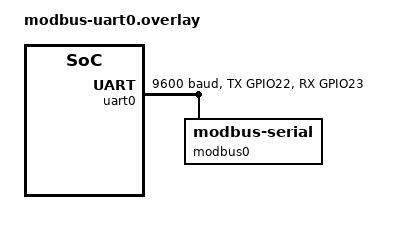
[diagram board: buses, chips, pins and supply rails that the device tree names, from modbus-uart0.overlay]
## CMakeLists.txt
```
# SPDX-License-Identifier: Apache-2.0

cmake_minimum_required(VERSION 3.20.0)

find_package(Zephyr REQUIRED HINTS $ENV{ZEPHYR_BASE})
project(wifi-tls)

# Sparkplug B protobuf, generated by nanopb into the build directory (proto/sparkplug_b.pb.h).
list(APPEND CMAKE_MODULE_PATH ${ZEPHYR_BASE}/modules/nanopb)
include(nanopb)
zephyr_nanopb_sources(app proto/sparkplug_b.proto)

target_sources(app PRIVATE
	src/main.c
	src/modbus_reader.c
	src/mqtt_transport.c
	src/sparkplug_node.c
	src/sparkplug_payload.c
)
target_sources_ifdef(CONFIG_APP_PPK_MARKERS app PRIVATE src/ppk_markers.c)
target_sources_ifdef(CONFIG_NETWORK_CELLULAR app PRIVATE src/network_modem.c)
target_sources_ifndef(CONFIG_NETWORK_CELLULAR app PRIVATE src/network_wifi.c)
```

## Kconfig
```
# Copyright 2025 NXP
# SPDX-License-Identifier: Apache-2.0

mainmenu "Wi-Fi MQTT TLS application"

config WIFI_SAMPLE_SSID
	string "SSID of the target AP"
	default "CHANGE_ME_WIFI_SSID"
	help
	  SSID of the access point to connect to in station mode.
	  For example: "TARGET-AP"

config WIFI_SAMPLE_PSK
	string "Pre-shared key for target AP"
	default "CHANGE_ME_WIFI_PSK"
	help
	  WPA2 password used to connect to the target AP.
	  For example: "PSK"

config WIFI_SAMPLE_DHCPV4_START
	bool "Start DHCPv4 server in application layer."
	default y
	help
	  Enable this option to start the DHCPv4 server from the application layer,
	  typically before the Soft AP is initialized.

	  When disabled, the DHCPv4 server startup timing is determined by the vendor's
	  implementation. In some cases, the server may be started after the AP is up,
	  using the vendor's default IP address, gateway, subnet mask.

config MQTT_BROKER_ADDRESS
	string "MQTT broker IPv4 address"
	default "CHANGE_ME_BROKER_IP"
	help
	  IPv4 address of the local Mosquitto broker.

config MQTT_CLIENT_ID
	string "MQTT client ID"
	default "esp32c6-wifi-tls"

config MQTT_TOPIC
	string "MQTT test topic"
	default "iot/test"

config MQTT_SNTP_SERVER
	string "SNTP server name or IPv4 address"
	default "pool.ntp.org"
	help
	  Server asked for the time before TLS. A name needs a DNS server; an IPv4 address does not.

config NETWORK_CELLULAR
	bool "Use the Stamp CatM modem (PPP) instead of Wi-Fi"
	default n
	help
	  Selects the modem network layer (src/network_modem.c) in CMakeLists.txt instead of Wi-Fi (src/network_wifi.c). Wi-Fi remains the default.

config NETWORK_IPV4_TIMEOUT_SECONDS
	int "Seconds to wait for an IPv4 address"
	default 30

config APP_BATCH_SIZE
	int "Number of Modbus samples per MQTT message"
	default 5
	range 1 30
	help
	  Number of samples collected before sending one NDATA message as a batch.
	  1 sends one message per sample (still using array format). Higher values
	  reduce transmissions but delay delivery of older samples.

source "Kconfig.zephyr"
```

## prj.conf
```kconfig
# Flash size of the ESP32-C6FH4
CONFIG_ESPTOOLPY_FLASHSIZE_4MB=y

# Network Configuration
CONFIG_NET_CONFIG_AUTO_INIT=n
CONFIG_NET_CONNECTION_MANAGER=y
CONFIG_NET_DHCPV4=y
CONFIG_NET_DHCPV4_SERVER=n
CONFIG_DNS_RESOLVER=y
CONFIG_NET_IF_MAX_IPV4_COUNT=2
CONFIG_NET_IF_MAX_IPV6_COUNT=2
CONFIG_NET_IPV4=y
CONFIG_NET_L2_ETHERNET=y
CONFIG_NET_MGMT=y
CONFIG_NET_MGMT_EVENT=y
CONFIG_NET_MGMT_EVENT_INFO=y
CONFIG_NET_MGMT_EVENT_QUEUE_SIZE=10
CONFIG_NET_MGMT_EVENT_STACK_SIZE=4096
CONFIG_NET_PKT_RX_COUNT=16
CONFIG_NET_PKT_TX_COUNT=16
CONFIG_NET_TCP=y
CONFIG_NET_UDP=y
CONFIG_NETWORKING=y

# Modbus RTU client on UART0; the Arduino slave uses 9600 8N1.
CONFIG_SERIAL=y
CONFIG_UART_INTERRUPT_DRIVEN=y
CONFIG_MODBUS=y
CONFIG_MODBUS_ROLE_CLIENT=y
CONFIG_MODBUS_NONCOMPLIANT_SERIAL_MODE=y

# MQTT over TLS
CONFIG_MQTT_LIB=y
CONFIG_MQTT_CLEAN_SESSION=y
CONFIG_MQTT_LIB_TLS=y
CONFIG_NET_SOCKETS_SOCKOPT_TLS=y
CONFIG_POSIX_API=y

# Certificate validity requires a synchronized realtime clock.
CONFIG_SNTP=y

# Mbed TLS certificate parsing and heap
CONFIG_MBEDTLS=y
CONFIG_MBEDTLS_ENABLE_HEAP=y
CONFIG_MBEDTLS_HEAP_SIZE=60000
CONFIG_MBEDTLS_SSL_MAX_CONTENT_LEN=16384
CONFIG_MBEDTLS_X509_CRT_PARSE_C=y
CONFIG_MBEDTLS_PEM_PARSE_C=y
CONFIG_MBEDTLS_BASE64_C=y
CONFIG_MBEDTLS_CIPHERSUITE_TLS_ECDHE_RSA_WITH_AES_128_GCM_SHA256=y
CONFIG_MBEDTLS_CIPHERSUITE_TLS1_3_AES_128_GCM_SHA256=y
CONFIG_MBEDTLS_SSL_TLS1_3_KEY_EXCHANGE_MODE_EPHEMERAL_ENABLED=y
CONFIG_MBEDTLS_X509_RSASSA_PSS_SUPPORT=y
CONFIG_PSA_WANT_ALG_RSA_OAEP=y
CONFIG_PSA_WANT_KEY_TYPE_RSA_PUBLIC_KEY=y

# Application logging
CONFIG_LOG=y
CONFIG_MAIN_STACK_SIZE=8192

# LOG Configuration
CONFIG_NET_LOG=y

# Compile out debug logging: no module logs below info
CONFIG_LOG_MAX_LEVEL=3
```

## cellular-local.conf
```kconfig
# Broker values for the modem build. Copied from wifi-local.conf without SSID or PSK.
CONFIG_MQTT_BROKER_ADDRESS="92.113.144.124"
CONFIG_MQTT_CLIENT_ID="esp32c6-node01"
```

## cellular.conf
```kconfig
# Modem build: PPP over the Stamp CatM instead of Wi-Fi.
# Passed to west build by run-build.sh via -DEXTRA_CONF_FILE together with cellular-local.conf.
CONFIG_NETWORK_CELLULAR=y
# PPP took about 17 s to assign an IP in cellular-ppp; registration can take longer.
CONFIG_NETWORK_IPV4_TIMEOUT_SECONDS=180

# PPP and the modem driver, as tested in cellular-ppp.
CONFIG_NET_NATIVE=y
CONFIG_NET_L2_PPP=y
# Use the DNS server the mobile network offers during PPP, so pool.ntp.org can be resolved for SNTP.
CONFIG_NET_L2_PPP_OPTION_DNS_USE=y
# Name lookups over PPP took 0.5 to 0.7 s or 3.6 to 5.3 s; the default 2 s timeout failed some of them.
CONFIG_NET_SOCKETS_DNS_TIMEOUT=10000

# Check the certificate's validity dates against the clock set by SNTP (test; see README).
CONFIG_MBEDTLS_HAVE_TIME_DATE=y
CONFIG_MODEM=y
CONFIG_PM_DEVICE=y
CONFIG_MODEM_CELLULAR=y
CONFIG_MODEM_CELLULAR_APN="onomondo"
# Larger CMUX work buffers, which also size the DLCI 1 (PPP) receive buffer. The default
# (MTU 127 + 7) overran during TLS and MQTT bursts. 512 is a test value, not a measured optimum.
CONFIG_MODEM_CMUX_WORK_BUFFER_SIZE_EXTRA=512

CONFIG_MODEM_MODULES_LOG_LEVEL_DBG=y
```

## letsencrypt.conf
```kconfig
# Let's Encrypt experiment: TLS SNI and certificate hostname for the broker.
# Remove this file from the build scripts to return to the Webdock IP-SAN route.
CONFIG_MQTT_TLS_HOSTNAME="Gruppe4"
CONFIG_MQTT_BROKER_ADDRESS="10.56.16.80"
```

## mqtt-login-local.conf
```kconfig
# MQTT login for the Webdock broker. Used by both the Wi-Fi and the modem build (see run-build.sh).
# Test project: the credential is whitelisted (industrial-iot-webdock-mqtt-login) and the repository is private.
CONFIG_MQTT_USERNAME="zephyr-project"
CONFIG_MQTT_PASSWORD="rootpass"
```

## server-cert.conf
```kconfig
# Server certificate configuration for the old local MQTT broker route.
# Keep the IP-SAN aligned with CONFIG_MQTT_BROKER_ADDRESS in wifi-local.conf.
# The Let's Encrypt experiment uses letsencrypt.conf and a DNS name instead.

[req]
distinguished_name = req_distinguished_name
req_extensions = req_ext
prompt = no

[req_distinguished_name]
CN = 192.168.87.119

[req_ext]
subjectAltName = @alt_names
basicConstraints = critical,CA:FALSE
keyUsage = critical,digitalSignature,keyEncipherment
extendedKeyUsage = serverAuth

[alt_names]
IP.1 = 192.168.87.119
```

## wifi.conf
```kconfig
# Wi-Fi station build. Passed to west build by run-build.sh via -DEXTRA_CONF_FILE.
CONFIG_WIFI=y
CONFIG_WIFI_NM=y
CONFIG_WIFI_USAGE_MODE_STA_AP=n
CONFIG_ESP32_WIFI_STA_RECONNECT=y
CONFIG_WIFI_USAGE_MODE_STA=y
CONFIG_WIFI_USAGE_MODE_AP=n
CONFIG_NET_L2_WIFI_MGMT=y

# Network layer: Wi-Fi is the default choice in Kconfig.
CONFIG_NETWORK_CELLULAR=n
CONFIG_NETWORK_IPV4_TIMEOUT_SECONDS=30
```

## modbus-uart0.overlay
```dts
#include <zephyr/dt-bindings/pinctrl/esp-pinctrl-common.h>
#include <zephyr/dt-bindings/pinctrl/esp32c6-pinctrl.h>

/* Modbus UART0 uses GPIO22/23 with HW-519 auto-direction */
&pinctrl {
	uart0_modbus: uart0_modbus {
		group1 {
			pinmux = <UART0_TX_GPIO22>;
			output-high;
		};

		group2 {
			pinmux = <UART0_RX_GPIO23>;
			bias-pull-up;
		};
	};
};

&uart0 {
	status = "okay";
	current-speed = <9600>;
	pinctrl-0 = <&uart0_modbus>;
	pinctrl-names = "default";

	modbus0 {
		compatible = "zephyr,modbus-serial";
		status = "okay";
	};
};
```

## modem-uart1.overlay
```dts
#include <zephyr/dt-bindings/gpio/gpio.h>
#include <zephyr/dt-bindings/pinctrl/esp-pinctrl-common.h>
#include <zephyr/dt-bindings/pinctrl/esp32c6-pinctrl.h>

/ {
	aliases {
		modem = &modem;
	};
};

/*
 * Copied from cellular-ppp/app.overlay, which is the tested reference.
 * Keep the two in sync when either changes.
 *
 * GPIO16/17 (uart0) share nets with the CP2102N bridge on the DevKitC-1 and the
 * modem stays silent there, so it sits on uart1 with GPIO18 TX and GPIO19 RX.
 */
&pinctrl {
	uart1_modem: uart1_modem {
		group1 {
			pinmux = <UART1_TX_GPIO18>;
			output-high;
		};

		group2 {
			pinmux = <UART1_RX_GPIO19>;
			bias-pull-up;
		};
	};
};

/* Stamp CatM on uart1, wired crosswise: Stamp TX to GPIO19, Stamp RX to GPIO18. */
&uart1 {
	status = "okay";
	current-speed = <115200>;
	pinctrl-0 = <&uart1_modem>;
	pinctrl-names = "default";

	modem: modem {
		compatible = "simcom,sim7080";
		status = "okay";
		/*
		 * PWRKEY is not exposed on the Stamp CatM header, so this pin is
		 * deliberately left unconnected. The binding requires a property.
		 */
		mdm-power-gpios = <&gpio0 10 GPIO_ACTIVE_HIGH>;
	};
};
```

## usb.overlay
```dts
/ {
    chosen {
        zephyr,console = &usb_serial;
        zephyr,shell-uart = &usb_serial;
    };
};

&usb_serial {
    status = "okay";
    current-speed = <115200>;
};
```

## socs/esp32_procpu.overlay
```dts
/ {
	wifi_ap: wifi_ap {
		compatible = "espressif,esp32-wifi";
		status = "okay";
	};

    chosen {
        zephyr,console = &usb_serial;
        zephyr,shell-uart = &usb_serial;
    };
};
```

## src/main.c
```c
/*
 * SPDX-License-Identifier: Apache-2.0
 */

#include "modbus_reader.h"
#include "mqtt_transport.h"
#include "network.h"

#include <zephyr/kernel.h>
#include <zephyr/logging/log.h>
#include <zephyr/net/dns_resolve.h>
#include <zephyr/net/net_ip.h>
#include <zephyr/net/sntp.h>
#include <zephyr/sys/clock.h>

#include <errno.h>
#include <time.h>

LOG_MODULE_REGISTER(MAIN);

#define MQTT_SNTP_SERVER CONFIG_MQTT_SNTP_SERVER
/* Modbus is read at the sample interval; the buffered samples are published together at the batch interval. */
#define MODBUS_SAMPLE_INTERVAL_MILLISECONDS 5000
/* Set equal to the sample interval to publish every sample at once, as before batching. */
#define BATCH_PUBLISH_INTERVAL_MILLISECONDS 30000
#define BATCH_SAMPLE_CAPACITY (BATCH_PUBLISH_INTERVAL_MILLISECONDS / MODBUS_SAMPLE_INTERVAL_MILLISECONDS)
#define MODBUS_PAYLOAD_BUFFER_SIZE 256

BUILD_ASSERT(BATCH_PUBLISH_INTERVAL_MILLISECONDS % MODBUS_SAMPLE_INTERVAL_MILLISECONDS == 0 && BATCH_SAMPLE_CAPACITY >= 1,
	     "The batch interval must be a whole multiple of the sample interval");

#define SPB_GROUP_ID "GR4"
#define SPB_EDGE_NODE_ID CONFIG_MQTT_CLIENT_ID
#define SPB_TOPIC_NBIRTH "spBv1.0/" SPB_GROUP_ID "/NBIRTH/" SPB_EDGE_NODE_ID
#define SPB_TOPIC_NDATA "spBv1.0/" SPB_GROUP_ID "/NDATA/" SPB_EDGE_NODE_ID
#define SPB_TOPIC_NDEATH "spBv1.0/" SPB_GROUP_ID "/NDEATH/" SPB_EDGE_NODE_ID

/* False after a failed pre-TLS network check, so no TLS or MQTT is attempted on that link. */
static bool mqtt_allowed = true;
/* True once SNTP has set the clock; certificate dates are checked against it. */
static bool clock_synchronized = false;

/* Sparkplug B state counters */
static int64_t spb_bdseq = -1;
static uint8_t spb_seq = 0;

/* One Modbus reading with the time it was taken, held until the next batch publish. */
struct modbus_sample {
	uint64_t timestamp_ms;
	uint16_t adc_millivolts;
	uint16_t uptime_seconds;
};

/* Samples collected since the last batch publish; only filled while MQTT is connected. */
static struct modbus_sample sample_batch[BATCH_SAMPLE_CAPACITY];
static size_t sample_batch_count = 0;

static uint64_t get_posix_timestamp_ms(void)
{
	struct timespec clock_spec;

	if (sys_clock_gettime(SYS_CLOCK_REALTIME, &clock_spec) == 0)
	{
		return ((uint64_t)clock_spec.tv_sec * 1000ULL) + ((uint64_t)clock_spec.tv_nsec / 1000000ULL);
	}

	return (uint64_t)k_uptime_get();
}

/* Log the IPv4 DNS servers the resolver holds, so a missing or wrong server is visible. */
static void log_dns_servers(void)
{
	struct dns_resolve_context *dns = dns_resolve_get_default();
	char address_text[NET_IPV4_ADDR_LEN];
	int server_count = 0;

	for (int i = 0; i < DNS_RESOLVER_MAX_POLL; i++)
	{
		const struct net_sockaddr *server = &dns->servers[i].dns_server;

		if (server->sa_family != NET_AF_INET)
		{
			continue;
		}

		net_addr_ntop(NET_AF_INET, &net_sin(server)->sin_addr, address_text, sizeof(address_text));
		LOG_INF("DNS server %d: %s", i, address_text);
		server_count++;
	}

	if (server_count == 0)
	{
		LOG_WRN("No IPv4 DNS server configured");
	}
}

static int synchronize_clock(void)
{
	struct sntp_time sntp_time;
	struct timespec realtime_spec;
	int return_code;

	int64_t started_ms = k_uptime_get();

	return_code = sntp_simple(MQTT_SNTP_SERVER, 5000, &sntp_time);
	LOG_INF("SNTP name lookup and query took %d ms", (int)(k_uptime_get() - started_ms));
	if (return_code < 0)
	{
		LOG_ERR("SNTP query failed: %d", return_code);
		log_dns_servers();
		return return_code;
	}

	realtime_spec.tv_sec = (time_t)sntp_time.seconds;
	realtime_spec.tv_nsec = ((uint64_t)sntp_time.fraction * NSEC_PER_SEC) >> 32;
	return_code = sys_clock_settime(SYS_CLOCK_REALTIME, &realtime_spec);
	if (return_code < 0)
	{
		LOG_ERR("Setting realtime clock failed: %d", return_code);
		return return_code;
	}

	LOG_INF("Realtime clock synchronized before TLS");
	clock_synchronized = true;
	return 0;
}

static int publish_spb_birth(void)
{
	char payload_json[MODBUS_PAYLOAD_BUFFER_SIZE];
	uint64_t now_ms = get_posix_timestamp_ms();
	int return_code;

	/* Reset seq to 0 on NBIRTH as per Sparkplug B standard */
	spb_seq = 0;

	return_code = snprintk(payload_json, sizeof(payload_json),
		       "{\"timestamp\":%llu,\"device_id\":\"%s\",\"seq\":0,\"bdSeq\":%llu,\"metrics\":["
		       "{\"name\":\"bdSeq\",\"value\":%llu},"
		       "{\"name\":\"node_state\",\"value\":\"ONLINE\"}]}",
		       (unsigned long long)now_ms,
		       SPB_EDGE_NODE_ID,
		       (unsigned long long)spb_bdseq,
		       (unsigned long long)spb_bdseq);
	if (return_code < 0 || return_code >= sizeof(payload_json))
	{
		LOG_ERR("Sparkplug NBIRTH payload formatting failed: %d", return_code);
		return -EMSGSIZE;
	}

	LOG_INF("Publishing Sparkplug B NBIRTH (bdSeq=%llu)", (unsigned long long)spb_bdseq);
	return_code = mqtt_transport_publish_topic(SPB_TOPIC_NBIRTH, payload_json, MQTT_QOS_0_AT_MOST_ONCE);
	if (return_code == 0)
	{
		/* First telemetry NDATA starts at seq 1 */
		spb_seq = 1;
	}

	return return_code;
}

/* Read the RTU values into the batch; a failed read is logged and skipped. The ADC value is not range checked. */
static void collect_modbus_sample(void)
{
	struct modbus_sample *sample;
	int return_code;

	/* Should not happen with whole-multiple intervals; dropping keeps the buffer bounded */
	if (sample_batch_count >= BATCH_SAMPLE_CAPACITY)
	{
		LOG_WRN("Sample batch full (%d samples); sample dropped", BATCH_SAMPLE_CAPACITY);
		return;
	}

	sample = &sample_batch[sample_batch_count];
	return_code = modbus_reader_read(&sample->adc_millivolts, &sample->uptime_seconds);
	if (return_code < 0)
	{
		LOG_ERR("Modbus RTU read failed: %d; sample skipped", return_code);
		return;
	}

	sample->timestamp_ms = get_posix_timestamp_ms();
	sample_batch_count++;
	LOG_INF("Modbus sample %u/%d: adc = %u mV, uptime = %u s", (unsigned int)sample_batch_count,
		BATCH_SAMPLE_CAPACITY, sample->adc_millivolts, sample->uptime_seconds);
}

/* Publish one buffered sample as Sparkplug B NDATA JSON. Sparkplug requires the payload timestamp to be the
 * publish time, so the measurement time goes in each metric's own timestamp. */
static int publish_modbus_sample(const struct modbus_sample *sample)
{
	char payload_json[MODBUS_PAYLOAD_BUFFER_SIZE];
	int return_code;

	/* Format NDATA payload with device_id, publish timestamp, seq and timestamped metrics */
	return_code = snprintk(payload_json, sizeof(payload_json),
		       "{\"timestamp\":%llu,\"device_id\":\"%s\",\"seq\":%u,\"metrics\":["
		       "{\"name\":\"adc_millivolts\",\"timestamp\":%llu,\"value\":%u},"
		       "{\"name\":\"uptime_seconds\",\"timestamp\":%llu,\"value\":%u}]}",
		       (unsigned long long)get_posix_timestamp_ms(),
		       SPB_EDGE_NODE_ID,
		       spb_seq,
		       (unsigned long long)sample->timestamp_ms,
		       sample->adc_millivolts,
		       (unsigned long long)sample->timestamp_ms,
		       sample->uptime_seconds);
	if (return_code < 0 || return_code >= sizeof(payload_json))
	{
		LOG_ERR("Sparkplug NDATA payload formatting failed: %d", return_code);
		return -EMSGSIZE;
	}

	/* Sequence counter increments 0..255 and wraps around */
	spb_seq = (spb_seq + 1) & 0xFF;

	return mqtt_transport_publish_topic(SPB_TOPIC_NDATA, payload_json, MQTT_QOS_0_AT_MOST_ONCE);
}

/* Publish the buffered samples oldest first as separate NDATA messages; on a failure the rest of the batch is dropped. */
static void publish_sample_batch(void)
{
	size_t published_count = 0;
	int return_code;

	while (published_count < sample_batch_count)
	{
		return_code = publish_modbus_sample(&sample_batch[published_count]);
		if (return_code < 0)
		{
			LOG_ERR("NDATA publish failed: %d; %u of %u samples dropped", return_code,
				(unsigned int)(sample_batch_count - published_count), (unsigned int)sample_batch_count);
			break;
		}
		published_count++;
	}

	LOG_INF("Batch published: %u of %u samples", (unsigned int)published_count, (unsigned int)sample_batch_count);
	sample_batch_count = 0;
}

/* Start an empty batch on a new MQTT session: sample at once. The publish deadline is the time of the batch's
 * last sample, so a full batch goes out at once, and a batch with a failed read goes out on time anyway. */
static void start_sample_batch(int64_t *next_sample_ms, int64_t *next_batch_publish_ms)
{
	if (sample_batch_count > 0)
	{
		LOG_WRN("Unsent batch of %u samples discarded after reconnect", (unsigned int)sample_batch_count);
	}

	sample_batch_count = 0;
	*next_sample_ms = k_uptime_get();
	*next_batch_publish_ms = *next_sample_ms + BATCH_PUBLISH_INTERVAL_MILLISECONDS - MODBUS_SAMPLE_INTERVAL_MILLISECONDS;
}

static int establish_mqtt_connection(void)
{
	char death_payload[128];
	uint64_t now_ms;
	int return_code;

	/* Increment bdSeq on each new session */
	spb_bdseq++;
	now_ms = get_posix_timestamp_ms();

	return_code = snprintk(death_payload, sizeof(death_payload),
		       "{\"timestamp\":%llu,\"device_id\":\"%s\",\"bdSeq\":%llu}",
		       (unsigned long long)now_ms,
		       SPB_EDGE_NODE_ID,
		       (unsigned long long)spb_bdseq);
	if (return_code < 0 || return_code >= sizeof(death_payload))
	{
		LOG_ERR("NDEATH payload formatting failed: %d", return_code);
		return -EMSGSIZE;
	}

	/* Establish TLS & MQTT with Last Will (NDEATH, QoS 1) */
	return_code = mqtt_transport_establish_will(SPB_TOPIC_NDEATH, death_payload, MQTT_QOS_1_AT_LEAST_ONCE);
	if (return_code < 0)
	{
		return return_code;
	}

	/* Immediately send NBIRTH after connection establishment */
	return_code = publish_spb_birth();
	if (return_code < 0)
	{
		LOG_WRN("Failed to publish NBIRTH: %d", return_code);
	}

	return 0;
}

int main(void)
{
	int64_t next_sample_ms = 0;
	int64_t next_batch_publish_ms = 0;
	bool modbus_ready = false;
	int return_code;

	k_sleep(K_SECONDS(5));

	return_code = modbus_reader_init();
	if (return_code < 0)
	{
		LOG_ERR("Modbus client initialization failed: %d; telemetry disabled", return_code);
	}
	else
	{
		modbus_ready = true;
		LOG_INF("Modbus RTU client ready; sample interval %d ms, batch interval %d ms",
			MODBUS_SAMPLE_INTERVAL_MILLISECONDS, BATCH_PUBLISH_INTERVAL_MILLISECONDS);
	}

	if (mqtt_transport_tls_init() < 0)
	{
		LOG_ERR("TLS initialization failed");
		return 0;
	}

	if (network_start() < 0)
	{
		LOG_ERR("Lower network layer failed to start");
	}
	else if (network_wait_ipv4(CONFIG_NETWORK_IPV4_TIMEOUT_SECONDS) == 0)
	{
		LOG_INF("ipv4 recieved");
		if (network_precheck() < 0)
		{
			LOG_ERR("Stopping before TLS: plain TCP to broker failed");
			mqtt_allowed = false;
		}
		else if (synchronize_clock() == 0 && establish_mqtt_connection() == 0)
		{
			start_sample_batch(&next_sample_ms, &next_batch_publish_ms);
		}
	}

	while (true)
	{
		network_log_status();

		if (mqtt_transport_is_connected())
		{
			mqtt_transport_process(1000);
		}
		else
		{
			k_sleep(K_SECONDS(5));
			/* Retry the clock first: a wrong clock makes TLS reject the certificate. */
			if (mqtt_allowed && network_has_ipv4() &&
			    (clock_synchronized || synchronize_clock() == 0))
			{
				if (establish_mqtt_connection() == 0)
				{
					start_sample_batch(&next_sample_ms, &next_batch_publish_ms);
				}
			}
		}

		if (!mqtt_transport_is_connected() || !modbus_ready)
		{
			continue;
		}

		/* Sample before publishing, so the last sample of a batch goes out in the same loop pass. Fixed-rate deadline,
		 * so loop delays do not push a sample out of its batch. */
		if (k_uptime_get() >= next_sample_ms)
		{
			collect_modbus_sample();
			next_sample_ms += MODBUS_SAMPLE_INTERVAL_MILLISECONDS;
		}

		/* A full batch is published at once; the deadline only sends a batch left short by a failed read */
		if (sample_batch_count == BATCH_SAMPLE_CAPACITY || k_uptime_get() >= next_batch_publish_ms)
		{
			if (sample_batch_count > 0)
			{
				publish_sample_batch();
			}
			next_batch_publish_ms += BATCH_PUBLISH_INTERVAL_MILLISECONDS;
		}
	}
}
```

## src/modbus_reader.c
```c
#include <errno.h>

#include <zephyr/kernel.h>
#include <zephyr/logging/log.h>
#include <zephyr/modbus/modbus.h>

#include "modbus_reader.h"

LOG_MODULE_REGISTER(modbus_reader, LOG_LEVEL_INF);

#define MODBUS_NODE DT_COMPAT_GET_ANY_STATUS_OKAY(zephyr_modbus_serial)
#define SLAVE_ID 1
#define FIRST_REGISTER 0
#define REGISTER_COUNT 2
#define RESPONSE_TIMEOUT_US 500000

static int client_iface;

static const struct modbus_iface_param client_param = {
	.mode = MODBUS_MODE_RTU,
	.rx_timeout = RESPONSE_TIMEOUT_US,
	.serial = {
		.baud = 9600,
		.parity = UART_CFG_PARITY_NONE,
		.stop_bits = UART_CFG_STOP_BITS_1,
	},
};

/* Find and initialize the enabled Modbus UART. */
int modbus_reader_init(void)
{
	const char iface_name[] = {DEVICE_DT_NAME(MODBUS_NODE)};

	client_iface = modbus_iface_get_by_name(iface_name);
	if (client_iface < 0)
	{
		LOG_ERR("No Modbus interface named %s: %d", iface_name, client_iface);
		return client_iface;
	}

	return modbus_init_client(client_iface, client_param);
}

/* Read both holding registers; output parameters change only on success. */
int modbus_reader_read(uint16_t *adc_millivolts, uint16_t *uptime_seconds)
{
	uint16_t register_values[REGISTER_COUNT];
	int error_code;

	if (adc_millivolts == NULL || uptime_seconds == NULL)
	{
		return -EINVAL;
	}

	error_code = modbus_read_holding_regs(client_iface, SLAVE_ID, FIRST_REGISTER, register_values,
					       REGISTER_COUNT);
	if (error_code != 0)
	{
		return error_code;
	}

	*adc_millivolts = register_values[0];
	*uptime_seconds = register_values[1];
	return 0;
}
```

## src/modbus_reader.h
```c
#ifndef MODBUS_READER_H
#define MODBUS_READER_H

#include <stdint.h>

/* Initialize the Modbus RTU client. Returns 0 or a negative error. */
int modbus_reader_init(void);

/* Read the slave ADC reading in millivolts and the uptime from holding registers 0 and 1. */
int modbus_reader_read(uint16_t *adc_millivolts, uint16_t *uptime_seconds);

#endif
```

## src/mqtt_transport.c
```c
/*
 * SPDX-License-Identifier: Apache-2.0
 */

#include "mqtt_transport.h"
#include "tls_credentials.h"

#include <zephyr/kernel.h>
#include <zephyr/logging/log.h>
#include <zephyr/net/mqtt.h>
#include <zephyr/net/net_ip.h>
#include <zephyr/net/socket.h>
#include <zephyr/net/tls_credentials.h>
#include <zephyr/posix/arpa/inet.h>
#include <zephyr/posix/poll.h>

#include <errno.h>
#include <string.h>

LOG_MODULE_REGISTER(mqtt_transport);

/* Replace the broker placeholder before running an actual MQTT test. */
#define MQTT_BROKER_ADDRESS CONFIG_MQTT_BROKER_ADDRESS
#define MQTT_BROKER_PORT 8883
#define MQTT_CLIENT_ID CONFIG_MQTT_CLIENT_ID
#define MQTT_TOPIC CONFIG_MQTT_TOPIC
#define MQTT_BUFFER_SIZE 2048
#define MQTT_CONNECT_TIMEOUT_MILLISECONDS 5000
#define MQTT_CA_CERT_TAG 1

static uint8_t mqtt_rx_buffer[MQTT_BUFFER_SIZE];
static uint8_t mqtt_tx_buffer[MQTT_BUFFER_SIZE];
static struct mqtt_client mqtt_client;
static struct sockaddr_storage mqtt_broker;
static struct pollfd mqtt_pollfd;
static bool mqtt_connected;
static int mqtt_connect_result;
static uint16_t mqtt_message_id_counter = 1;

/* Static storage for Last Will to prevent stack corruption.
 * Zephyr keeps the Last Will topic and its QoS together in struct mqtt_topic. */
static struct mqtt_topic mqtt_will_topic;
static struct mqtt_utf8 will_msg_utf8;
static char static_will_topic[128];
static char static_will_payload[256];

static sec_tag_t mqtt_sec_tags[] = {MQTT_CA_CERT_TAG};

int mqtt_transport_tls_init(void)
{
	int return_code = tls_credential_add(MQTT_CA_CERT_TAG,
					 TLS_CREDENTIAL_CA_CERTIFICATE,
					 ca_certificate,
					 sizeof(ca_certificate));

	if (return_code < 0)
	{
		LOG_ERR("Failed to register MQTT CA certificate: %d", return_code);
	}

	return return_code;
}

static void mqtt_event_handler(struct mqtt_client *client, const struct mqtt_evt *evt)
{
	ARG_UNUSED(client);

	switch (evt->type)
	{
	case MQTT_EVT_CONNACK:
		mqtt_connect_result = evt->result;
		if (evt->result == 0)
		{
			mqtt_connected = true;
			LOG_INF("MQTT connected");
		}
		else
		{
			LOG_ERR("MQTT CONNACK failed: %d", evt->result);
		}
		break;
	case MQTT_EVT_DISCONNECT:
		if (!mqtt_connected)
		{
			mqtt_connect_result = evt->result;
		}
		mqtt_connected = false;
		LOG_INF("MQTT disconnected: %d", evt->result);
		break;
	case MQTT_EVT_PUBACK:
		if (evt->result == 0)
		{
			LOG_INF("MQTT PUBACK received (message id: %u)", evt->param.puback.message_id);
		}
		else
		{
			LOG_WRN("MQTT PUBACK error: %d", evt->result);
		}
		break;
	default:
		break;
	}
}

static int mqtt_client_setup(const char *will_topic, const char *will_payload, enum mqtt_qos will_qos)
{
	struct sockaddr_in *broker = (struct sockaddr_in *)&mqtt_broker;

	memset(&mqtt_broker, 0, sizeof(mqtt_broker));
	broker->sin_family = AF_INET;
	broker->sin_port = htons(MQTT_BROKER_PORT);
	if (inet_pton(AF_INET, MQTT_BROKER_ADDRESS, &broker->sin_addr) != 1)
	{
		LOG_ERR("Invalid MQTT broker address: %s", MQTT_BROKER_ADDRESS);
		return -EINVAL;
	}

	mqtt_client_init(&mqtt_client);
	mqtt_client.broker = &mqtt_broker;
	mqtt_client.evt_cb = mqtt_event_handler;
	mqtt_client.client_id.utf8 = (uint8_t *)MQTT_CLIENT_ID;
	mqtt_client.client_id.size = sizeof(MQTT_CLIENT_ID) - 1;
	mqtt_client.protocol_version = MQTT_VERSION_3_1_1;
	mqtt_client.rx_buf = mqtt_rx_buffer;
	mqtt_client.rx_buf_size = sizeof(mqtt_rx_buffer);
	mqtt_client.tx_buf = mqtt_tx_buffer;
	mqtt_client.tx_buf_size = sizeof(mqtt_tx_buffer);
	mqtt_client.transport.type = MQTT_TRANSPORT_SECURE;

	/* Configure Last Will (NDEATH) if provided */
	if (will_topic && will_payload)
	{
		size_t topic_len = strlen(will_topic);
		size_t payload_len = strlen(will_payload);

		if (topic_len < sizeof(static_will_topic) && payload_len < sizeof(static_will_payload))
		{
			memcpy(static_will_topic, will_topic, topic_len + 1);
			memcpy(static_will_payload, will_payload, payload_len + 1);

			mqtt_will_topic.topic.utf8 = (uint8_t *)static_will_topic;
			mqtt_will_topic.topic.size = topic_len;
			mqtt_will_topic.qos = will_qos;
			will_msg_utf8.utf8 = (uint8_t *)static_will_payload;
			will_msg_utf8.size = payload_len;

			mqtt_client.will_topic = &mqtt_will_topic;
			mqtt_client.will_message = &will_msg_utf8;
			mqtt_client.will_retain = 0;
			LOG_INF("Configured MQTT Last Will: topic=%s, qos=%d", will_topic, will_qos);
		}
		else
		{
			LOG_ERR("Last Will topic or payload exceeds buffer size");
			return -ENOMEM;
		}
	}

	struct mqtt_sec_config *tls_config = &mqtt_client.transport.tls.config;

	tls_config->peer_verify = TLS_PEER_VERIFY_REQUIRED;
	tls_config->cipher_list = NULL;
	tls_config->sec_tag_list = mqtt_sec_tags;
	tls_config->sec_tag_count = ARRAY_SIZE(mqtt_sec_tags);
	/* Verify the broker certificate against its IP without sending IP-as-SNI. */
	tls_config->hostname = MQTT_BROKER_ADDRESS;

	return 0;
}

/* Establish the MQTT client and wait for broker acceptance with optional Last Will. */
int mqtt_transport_establish_will(const char *will_topic, const char *will_payload, enum mqtt_qos will_qos)
{
	int return_code;

	LOG_INF("MQTT setup running");

	return_code = mqtt_client_setup(will_topic, will_payload, will_qos);
	if (return_code < 0)
	{
		return return_code;
	}

	mqtt_connected = false;
	mqtt_connect_result = -ETIMEDOUT;
	return_code = mqtt_connect(&mqtt_client);
	if (return_code < 0)
	{
		LOG_ERR("MQTT connect request failed: %d", return_code);
		mqtt_abort(&mqtt_client);
		return return_code;
	}

	mqtt_pollfd.fd = mqtt_client.transport.tls.sock;
	mqtt_pollfd.events = POLLIN;
	for (int elapsed = 0; elapsed < MQTT_CONNECT_TIMEOUT_MILLISECONDS && !mqtt_connected; elapsed += 100)
	{
		LOG_INF("MQTT connecting...");

		return_code = poll(&mqtt_pollfd, 1, 100);
		if (return_code < 0)
		{
			LOG_ERR("MQTT poll failed: %d", errno);
			mqtt_abort(&mqtt_client);
			return -errno;
		}
		if (return_code > 0 && (mqtt_pollfd.revents & (POLLERR | POLLHUP | POLLNVAL)))
		{
			LOG_ERR("MQTT socket error, poll events: 0x%x", mqtt_pollfd.revents);
			mqtt_abort(&mqtt_client);
			return -EIO;
		}
		if (return_code > 0 && (mqtt_pollfd.revents & POLLIN))
		{
			return_code = mqtt_input(&mqtt_client);
			if (return_code < 0)
			{
				LOG_ERR("MQTT input failed: %d", return_code);
				mqtt_abort(&mqtt_client);
				return return_code;
			}
		}
	}

	if (!mqtt_connected)
	{
		LOG_ERR("MQTT CONNACK timeout/result: %d", mqtt_connect_result);
		mqtt_abort(&mqtt_client);
		return -ETIMEDOUT;
	}

	LOG_INF("MQTT CONNACK accepted");
	return 0;
}

int mqtt_transport_establish(void)
{
	return mqtt_transport_establish_will(NULL, NULL, MQTT_QOS_0_AT_MOST_ONCE);
}

int mqtt_transport_process(int timeout_ms)
{
	int return_code = poll(&mqtt_pollfd, 1, timeout_ms);

	if (return_code < 0)
	{
		int poll_errno = errno;

		LOG_ERR("MQTT poll failed: %d", poll_errno);
		mqtt_abort(&mqtt_client);
		mqtt_connected = false;
		return -poll_errno;
	}

	if (return_code > 0 && (mqtt_pollfd.revents & (POLLERR | POLLHUP | POLLNVAL)))
	{
		LOG_ERR("MQTT socket error, poll events: 0x%x", mqtt_pollfd.revents);
		mqtt_abort(&mqtt_client);
		mqtt_connected = false;
		return -EIO;
	}

	if (return_code > 0 && (mqtt_pollfd.revents & POLLIN))
	{
		return_code = mqtt_input(&mqtt_client);
		if (return_code < 0)
		{
			LOG_ERR("MQTT input failed: %d", return_code);
			mqtt_abort(&mqtt_client);
			mqtt_connected = false;
			return return_code;
		}
	}
	else if (return_code == 0)
	{
		return_code = mqtt_live(&mqtt_client);
		if (return_code < 0 && return_code != -EAGAIN)
		{
			LOG_ERR("MQTT keepalive failed: %d", return_code);
			mqtt_abort(&mqtt_client);
			mqtt_connected = false;
			return return_code;
		}
	}

	return 0;
}

/* Publish one string payload to a specified topic with given QoS. */
int mqtt_transport_publish_topic(const char *topic, const char *payload, enum mqtt_qos qos)
{
	struct mqtt_publish_param publish_param = {0};
	int return_code;

	if (!topic || !payload)
	{
		return -EINVAL;
	}

	publish_param.message.topic.topic.utf8 = (uint8_t *)topic;
	publish_param.message.topic.topic.size = strlen(topic);
	publish_param.message.topic.qos = qos;
	publish_param.message.payload.data = (uint8_t *)payload;
	publish_param.message.payload.len = strlen(payload);
	if (qos > MQTT_QOS_0_AT_MOST_ONCE)
	{
		if (++mqtt_message_id_counter == 0)
		{
			mqtt_message_id_counter = 1;
		}
		publish_param.message_id = mqtt_message_id_counter;
	}
	else
	{
		publish_param.message_id = 0;
	}

	LOG_INF("Publishing to %s (len=%u, qos=%d)", topic, (unsigned int)strlen(payload), qos);
	return_code = mqtt_publish(&mqtt_client, &publish_param);
	if (return_code < 0)
	{
		LOG_ERR("MQTT publish failed on %s: %d", topic, return_code);
	}
	else
	{
		LOG_INF("MQTT publish accepted locally: topic=%s, qos=%d", topic, qos);
	}

	return return_code;
}

/* Publish one string payload on the default configured MQTT topic (QoS 0). */
int mqtt_transport_publish(const char *payload)
{
	return mqtt_transport_publish_topic(MQTT_TOPIC, payload, MQTT_QOS_0_AT_MOST_ONCE);
}

bool mqtt_transport_is_connected(void)
{
	return mqtt_connected;
}
```

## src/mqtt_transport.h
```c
/*
 * SPDX-License-Identifier: Apache-2.0
 */

#ifndef MQTT_TRANSPORT_H_
#define MQTT_TRANSPORT_H_

#include <stdbool.h>
#include <zephyr/net/mqtt.h>

/**
 * @brief Register the MQTT CA certificate in the TLS credential subsystem.
 *
 * @return 0 on success, negative errno on failure.
 */
int mqtt_transport_tls_init(void);

/**
 * @brief Configure the MQTT client with optional Last Will, open TLS connection, and wait for CONNACK.
 *
 * @param will_topic Optional Last Will topic (e.g. NDEATH), or NULL if not used.
 * @param will_payload Optional Last Will payload, or NULL if not used.
 * @param will_qos Last Will QoS (e.g. MQTT_QOS_1_AT_LEAST_ONCE).
 * @return 0 on success, negative errno on failure or timeout.
 */
int mqtt_transport_establish_will(const char *will_topic, const char *will_payload, enum mqtt_qos will_qos);

/**
 * @brief Backward-compatible establish without Last Will.
 *
 * @return 0 on success, negative errno on failure or timeout.
 */
int mqtt_transport_establish(void);

/**
 * @brief Poll the MQTT socket, process incoming packets, and send keepalive pings.
 *
 * If an error occurs, the connection is aborted internally and
 * mqtt_transport_is_connected() becomes false.
 *
 * @param timeout_ms Maximum time to wait in poll() in milliseconds.
 * @return 0 on success, negative errno on failure.
 */
int mqtt_transport_process(int timeout_ms);

/**
 * @brief Publish a null-terminated string payload to a specific MQTT topic with given QoS.
 *
 * @param topic MQTT topic string.
 * @param payload Null-terminated string to publish.
 * @param qos Quality of Service (MQTT_QOS_0_AT_MOST_ONCE or MQTT_QOS_1_AT_LEAST_ONCE).
 * @return 0 on success, negative errno on failure.
 */
int mqtt_transport_publish_topic(const char *topic, const char *payload, enum mqtt_qos qos);

/**
 * @brief Check whether the MQTT client currently has an active connection.
 *
 * @return true if connected, false otherwise.
 */
bool mqtt_transport_is_connected(void);

#endif /* MQTT_TRANSPORT_H_ */
```

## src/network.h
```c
/*
 * SPDX-License-Identifier: Apache-2.0
 */

#ifndef NETWORK_H_
#define NETWORK_H_

#include <stdbool.h>

/**
 * @brief Start the lower network layer (Wi-Fi or Cellular).
 *
 * @return 0 on success, negative errno on failure.
 */
int network_start(void);

/**
 * @brief Wait for the interface to obtain an IPv4 address.
 *
 * @param timeout_seconds Maximum seconds to wait.
 * @return 0 on success, negative errno on timeout or failure.
 */
int network_wait_ipv4(int timeout_seconds);

/**
 * @brief Pre-check TCP link to broker before attempting TLS.
 *
 * @return 0 on success, negative errno on failure.
 */
int network_precheck(void);

/**
 * @brief Check if interface currently has an assigned IPv4 address.
 *
 * @return true if IPv4 is ready, false otherwise.
 */
bool network_has_ipv4(void);

/**
 * @brief Log current network connection and IPv4 status.
 */
void network_log_status(void);

/**
 * @brief Enable the link's power save mode (Wi-Fi: CONFIG_APP_WIFI_POWER_SAVE).
 *
 * Call after network_wait_ipv4() has succeeded.
 *
 * @return 0 on success or when not enabled in Kconfig, negative errno on failure
 *         (-ENOTSUP if the driver does not support it).
 */
int network_enable_power_save(void);

#endif /* NETWORK_H_ */
```

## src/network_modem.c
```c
/*
 * SPDX-License-Identifier: Apache-2.0
 */

#include "network.h"

#include <zephyr/device.h>
#include <zephyr/drivers/cellular.h>
#include <zephyr/drivers/uart.h>
#include <zephyr/kernel.h>
#include <zephyr/logging/log.h>
#include <zephyr/net/net_if.h>
#include <zephyr/net/net_ip.h>
#include <zephyr/net/net_mgmt.h>
#include <zephyr/net/socket.h>
#include <zephyr/pm/device.h>
#include <zephyr/posix/arpa/inet.h>

#include <errno.h>

LOG_MODULE_REGISTER(network_modem, CONFIG_NET_CONNECTION_MANAGER_LOG_LEVEL);

/* Devicetree is read before Kconfig, so the modem overlay must be passed at build time. */
#if !DT_NODE_EXISTS(DT_ALIAS(modem))
#error "Cellular build needs the modem alias; pass -DEXTRA_DTC_OVERLAY_FILE with modem-uart1.overlay"
#endif

#define MQTT_BROKER_ADDRESS CONFIG_MQTT_BROKER_ADDRESS
#define MQTT_BROKER_PORT 8883

#define L4_EVENT_MASK (NET_EVENT_L4_CONNECTED | NET_EVENT_L4_DISCONNECTED)
#define L4_CONNECTED_FLAG 1
#define NETWORK_POLL_SECONDS 5
#define MODEM_INFO_BUFFER_SIZE 64
#define SIGNAL_LOG_INTERVAL_SECONDS 30
/* Onomondo ICCIDs start with this prefix; only the prefix is logged. */
#define ICCID_PREFIX_LENGTH 6

static const struct device *const modem = DEVICE_DT_GET(DT_ALIAS(modem));
static const struct device *const modem_uart = DEVICE_DT_GET(DT_PARENT(DT_ALIAS(modem)));
/* 3GPP 27.010 basic-mode CLD (close multiplexer) on DLCI 0. */
static const uint8_t cmux_close_frame[] = {0xF9, 0x03, 0xEF, 0x05, 0xC3, 0x01, 0xF2, 0xF9};
#define CMUX_CLOSE_SETTLE_MILLISECONDS 500
/* Fixed wait for the modem to restart; the driver's init script sends its first AT 11.5 s after boot. */
#define MODEM_RESTART_WAIT_MILLISECONDS 4000
static struct net_if *ppp_iface;
K_EVENT_DEFINE(l4_event);

/* Track PPP link state so the IP wait and the status check see the same flag. */
static void l4_event_handler(uint64_t event, struct net_if *iface, void *info,
							 size_t info_length, void *user_data)
{
	if (iface != ppp_iface)
	{
		return;
	}

	if (event == NET_EVENT_L4_CONNECTED)
	{
		k_event_post(&l4_event, L4_CONNECTED_FLAG);
	}
	else if (event == NET_EVENT_L4_DISCONNECTED)
	{
		k_event_set(&l4_event, 0);
	}
}

NET_MGMT_REGISTER_EVENT_HANDLER(l4_events, L4_EVENT_MASK, l4_event_handler, NULL);

/* Name the registration status values so a rejected SIM is easy to recognise. */
static const char *registration_text(enum cellular_registration_status status)
{
	switch (status)
	{
	case CELLULAR_REGISTRATION_NOT_REGISTERED:
		return "not registered, not searching";
	case CELLULAR_REGISTRATION_REGISTERED_HOME:
		return "registered, home network";
	case CELLULAR_REGISTRATION_SEARCHING:
		return "searching for network";
	case CELLULAR_REGISTRATION_DENIED:
		return "DENIED by network";
	case CELLULAR_REGISTRATION_REGISTERED_ROAMING:
		return "registered, roaming";
	default:
		return "unknown or other";
	}
}

/* Log LTE registration status while waiting, so progress or rejection is visible. */
static void log_registration_progress(void)
{
	enum cellular_registration_status registration = CELLULAR_REGISTRATION_UNKNOWN;

	if (cellular_get_registration_status(modem, CELLULAR_ACCESS_TECHNOLOGY_E_UTRAN,
										 &registration) < 0)
	{
		LOG_WRN("Registration status: unavailable");
		return;
	}

	LOG_INF("Registration status: %d (%s)", registration, registration_text(registration));
}

/* Log one text modem field, marking it unknown when the read fails. */
static void log_modem_info(const char *label, enum cellular_modem_info_type type, size_t length)
{
	char info_value[MODEM_INFO_BUFFER_SIZE] = "-";

	if (cellular_get_modem_info(modem, type, info_value, sizeof(info_value)) < 0)
	{
		LOG_WRN("%s: unknown", label);
		return;
	}

	LOG_INF("%s: %.*s", label, (int)length, info_value);
}

/* Log facts that show which modem, SIM and radio link are in use. Runs once after IP. */
static void log_modem_facts(void)
{
	int16_t rssi_dbm = 0;

	log_modem_info("Model", CELLULAR_MODEM_INFO_MODEL_ID, MODEM_INFO_BUFFER_SIZE);
	log_modem_info("Firmware", CELLULAR_MODEM_INFO_FW_VERSION, MODEM_INFO_BUFFER_SIZE);
	log_modem_info("ICCID prefix", CELLULAR_MODEM_INFO_SIM_ICCID, ICCID_PREFIX_LENGTH);

	if (cellular_get_signal(modem, CELLULAR_SIGNAL_RSSI, &rssi_dbm) == 0)
	{
		LOG_INF("RSSI: %d dBm", rssi_dbm);
	}
	else
	{
		LOG_WRN("RSSI: unknown");
	}
}

/*
 * Close a CMUX session the modem kept from the previous boot, so the driver's AT script is
 * answered. The driver opens the UART early, but its init script sends the first AT only
 * 11.5 s after boot (1.5 s power pulse and 10 s startup time for the SIM7080).
 */
static void modem_close_stale_cmux(void)
{
	unsigned char stale_byte;

	LOG_INF("Closing any CMUX session left by the previous boot");
	for (size_t i = 0; i < sizeof(cmux_close_frame); i++)
	{
		uart_poll_out(modem_uart, cmux_close_frame[i]);
	}

	/* Let the modem answer, then discard the answer so the driver does not read it. */
	k_msleep(CMUX_CLOSE_SETTLE_MILLISECONDS);
	while (uart_poll_in(modem_uart, &stale_byte) == 0)
	{
	}
}

/* Send one AT command on the modem UART in plain AT mode. */
static void modem_send_at(const char *command)
{
	for (size_t i = 0; command[i] != '\0'; i++)
	{
		uart_poll_out(modem_uart, command[i]);
	}
	uart_poll_out(modem_uart, '\r');
}

/*
 * Reset the module with AT+CFUN=1,1 and wait for it to restart. A modem that is still attached
 * from the previous boot refuses ATD*99***1# (NO CARRIER); a reset gives the same state as a
 * power cycle. The modem's reply was not readable here with uart_poll_in in most measured runs,
 * so the wait is fixed. The restart took 2.5 to 2.8 s in measurements.
 */
static void modem_reset_module(void)
{
	LOG_INF("Resetting the modem module");
	modem_send_at("AT+CFUN=1,1");
	k_msleep(MODEM_RESTART_WAIT_MILLISECONDS);
}

/* Power the modem and bring the PPP interface up. */
int network_start(void)
{
	int return_code;

	modem_close_stale_cmux();
	modem_reset_module();

	ppp_iface = net_if_get_first_by_type(&NET_L2_GET_NAME(PPP));
	if (!ppp_iface)
	{
		LOG_ERR("No PPP interface found");
		return -ENODEV;
	}

	LOG_INF("Powering on modem");
	/* The driver resumes itself at boot, so -EALREADY means it is already running. */
	return_code = pm_device_action_run(modem, PM_DEVICE_ACTION_RESUME);
	if (return_code < 0 && return_code != -EALREADY)
	{
		LOG_ERR("Modem resume failed: %d", return_code);
		return return_code;
	}

	return_code = net_if_up(ppp_iface);
	if (return_code < 0)
	{
		LOG_ERR("PPP interface up failed: %d", return_code);
	}

	return return_code;
}

/* True when the PPP link has an IPv4 address. */
bool network_has_ipv4(void)
{
	return k_event_test(&l4_event, L4_CONNECTED_FLAG) != 0;
}

/* Wait for PPP to assign an address, logging LTE registration while waiting. */
int network_wait_ipv4(int timeout_seconds)
{
	for (int waited_seconds = 0; waited_seconds < timeout_seconds;
		 waited_seconds += NETWORK_POLL_SECONDS)
	{
		uint32_t event_flags = k_event_wait(&l4_event, L4_CONNECTED_FLAG, false,
									   K_SECONDS(NETWORK_POLL_SECONDS));

		if (event_flags == L4_CONNECTED_FLAG)
		{
			LOG_INF("PPP link up, IP address assigned");
			log_modem_facts();
			return 0;
		}

		log_registration_progress();
	}

	LOG_ERR("No IP address within %d s", timeout_seconds);
	return -ETIMEDOUT;
}

/* Short reason for a failed signal read, so the log line needs no errno lookup. */
static const char *signal_error_text(int return_code)
{
	switch (return_code)
	{
	case -EBUSY:
		return "modem busy, retrying";
	case -ENODATA:
		return "not registered yet";
	case -EAGAIN:
		return "AT+CSQ timed out";
	case -EINVAL:
		return "modem reports no signal";
	default:
		return "read failed";
	}
}

/*
 * Log the RSSI at most every SIGNAL_LOG_INTERVAL_SECONDS. The read runs AT+CSQ in the driver's
 * chat context, which also runs the periodic script, so it blocks up to 2 s and returns -EBUSY
 * while that script runs. A failed read counts toward the driver's script failure limit.
 */
static void log_signal_strength(void)
{
	static int64_t next_log_milliseconds;
	int16_t rssi_dbm = 0;
	int return_code;

	if (k_uptime_get() < next_log_milliseconds)
	{
		return;
	}
	next_log_milliseconds = k_uptime_get() + (int64_t)SIGNAL_LOG_INTERVAL_SECONDS * MSEC_PER_SEC;

	return_code = cellular_get_signal(modem, CELLULAR_SIGNAL_RSSI, &rssi_dbm);
	if (return_code == 0)
	{
		LOG_INF("Signal strength: RSSI %d dBm", rssi_dbm);
	}
	else if (return_code == -EBUSY)
	{
		LOG_INF("Signal strength not read: %s (%d)", signal_error_text(return_code), return_code);
	}
	else
	{
		LOG_WRN("Signal strength not read: %s (%d)", signal_error_text(return_code), return_code);
	}
}

void network_log_status(void)
{
	LOG_INF("PPP status: %s", network_has_ipv4() ? "IP assigned" : "no IP");
	log_signal_strength();
}

/* Open a plain TCP connection to the broker to prove the link before TLS. */
int network_precheck(void)
{
	struct sockaddr_in broker_endpoint = {0};
	int socket_descriptor;
	int return_code;
	int connect_errno;

	broker_endpoint.sin_family = AF_INET;
	broker_endpoint.sin_port = htons(MQTT_BROKER_PORT);
	if (inet_pton(AF_INET, MQTT_BROKER_ADDRESS, &broker_endpoint.sin_addr) != 1)
	{
		LOG_ERR("Invalid TCP endpoint address: %s", MQTT_BROKER_ADDRESS);
		return -EINVAL;
	}

	socket_descriptor = zsock_socket(AF_INET, SOCK_STREAM, IPPROTO_TCP);
	if (socket_descriptor < 0)
	{
		LOG_ERR("TCP socket open failed: %d", errno);
		return -errno;
	}

	/* Blocking connect; the TCP stack sets the timeout. */
	return_code = zsock_connect(socket_descriptor, (struct sockaddr *)&broker_endpoint, sizeof(broker_endpoint));
	/* Keep errno before close, because close may overwrite it. */
	connect_errno = errno;
	zsock_close(socket_descriptor);
	if (return_code < 0)
	{
		LOG_ERR("TCP connect to %s:%d failed: %d", MQTT_BROKER_ADDRESS, MQTT_BROKER_PORT,
				connect_errno);
		return -connect_errno;
	}

	LOG_INF("TCP connection to %s:%d succeeded", MQTT_BROKER_ADDRESS, MQTT_BROKER_PORT);
	return 0;
}
```

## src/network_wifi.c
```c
/*
 * SPDX-License-Identifier: Apache-2.0
 */

#include "network.h"

#include <zephyr/kernel.h>
#include <zephyr/logging/log.h>
#include <zephyr/net/net_if.h>
#include <zephyr/net/net_ip.h>
#include <zephyr/net/net_mgmt.h>
#include <zephyr/net/wifi_mgmt.h>

#include <errno.h>

LOG_MODULE_REGISTER(network_wifi, CONFIG_NET_CONNECTION_MANAGER_LOG_LEVEL);

#define NET_EVENT_WIFI_MASK \
	(NET_EVENT_WIFI_CONNECT_RESULT | NET_EVENT_WIFI_DISCONNECT_RESULT)

static struct net_if *sta_iface;
static struct wifi_connect_req_params sta_config;
static struct net_mgmt_event_callback cb;
static bool sta_connected;

static const char *wifi_iface_name(struct net_if *iface)
{
	if (iface == sta_iface)
	{
		return "STA";
	}
	return "unknown";
}

BUILD_ASSERT(sizeof(CONFIG_WIFI_SAMPLE_SSID) > 1,
			 "CONFIG_WIFI_SAMPLE_SSID is empty. Please set it in conf file.");

static void wifi_event_handler(struct net_mgmt_event_callback *cb, uint64_t mgmt_event,
							   struct net_if *iface)
{
	switch (mgmt_event)
	{
	case NET_EVENT_WIFI_CONNECT_RESULT:
	{
		struct wifi_status *status = (struct wifi_status *)cb->info;
		int connection_status = status ? status->status : -ENODATA;

		if (connection_status == 0)
		{
			sta_connected = true;
			LOG_INF("Wi-Fi %s connected (status=%d)", wifi_iface_name(iface), connection_status);
		}
		else
		{
			sta_connected = false;
			LOG_ERR("Wi-Fi %s connection failed (status=%d)", wifi_iface_name(iface), connection_status);
		}
		break;
	}
	case NET_EVENT_WIFI_DISCONNECT_RESULT:
	{
		struct wifi_status *status = (struct wifi_status *)cb->info;
		int connection_status = status ? status->status : -ENODATA;

		sta_connected = false;
		LOG_WRN("Wi-Fi %s disconnected (status=%d)", wifi_iface_name(iface), connection_status);
		break;
	}
	default:
		break;
	}
}

void network_log_status(void)
{
	struct net_in_addr *ipv4 = NULL;
	char ipv4_text[NET_IPV4_ADDR_LEN] = "none";

	if (sta_iface)
	{
		ipv4 = net_if_ipv4_get_global_addr(sta_iface, NET_ADDR_PREFERRED);
	}
	if (ipv4)
	{
		net_addr_ntop(NET_AF_INET, ipv4, ipv4_text, sizeof(ipv4_text));
	}

	LOG_INF("Wi-Fi status: %s, IPv4: %s",
			sta_connected ? "connected" : "disconnected",
			ipv4_text);
}

static int connect_to_wifi(void)
{
	if (!sta_iface)
	{
		LOG_INF("STA: interface not initialized");
		return -EIO;
	}

	sta_config.ssid = (const uint8_t *)CONFIG_WIFI_SAMPLE_SSID;
	sta_config.ssid_length = sizeof(CONFIG_WIFI_SAMPLE_SSID) - 1;
	sta_config.psk = (const uint8_t *)CONFIG_WIFI_SAMPLE_PSK;
	sta_config.psk_length = sizeof(CONFIG_WIFI_SAMPLE_PSK) - 1;
	sta_config.security = WIFI_SECURITY_TYPE_PSK;
	sta_config.channel = WIFI_CHANNEL_ANY;
	sta_config.band = WIFI_FREQ_BAND_2_4_GHZ;

	LOG_INF("Connecting to configured Wi-Fi network");

	int return_code = net_mgmt(NET_REQUEST_WIFI_CONNECT, sta_iface, &sta_config,
					   sizeof(struct wifi_connect_req_params));
	if (return_code)
	{
		LOG_ERR("Unable to connect to configured Wi-Fi network");
	}

	return return_code;
}

int network_wait_ipv4(int timeout_seconds)
{
	for (int i = 0; i < timeout_seconds; i++)
	{
		LOG_INF("Waiting for ipv4");

		if (sta_connected && net_if_ipv4_get_global_addr(sta_iface, NET_ADDR_PREFERRED))
		{
			return 0;
		}

		k_sleep(K_SECONDS(1));
	}

	LOG_ERR("Timed out waiting for Wi-Fi IPv4 address");
	return -ETIMEDOUT;
}

/* Wi-Fi has no pre-TLS network check; the broker check is cellular-only. */
int network_precheck(void)
{
	return 0;
}

/* Start the Wi-Fi station and request connection to the configured AP. */
int network_start(void)
{
	net_mgmt_init_event_callback(&cb, wifi_event_handler, NET_EVENT_WIFI_MASK);
	net_mgmt_add_event_callback(&cb);

	/* Get the station interface. */
	sta_iface = net_if_get_wifi_sta();

	/* Connect failures are logged by connect_to_wifi; the IPv4 wait reports the outcome. */
	connect_to_wifi();
	return 0;
}

/* True when the station is connected and has an IPv4 address. */
bool network_has_ipv4(void)
{
	return sta_connected && net_if_ipv4_get_global_addr(sta_iface, NET_ADDR_PREFERRED) != NULL;
}
```
